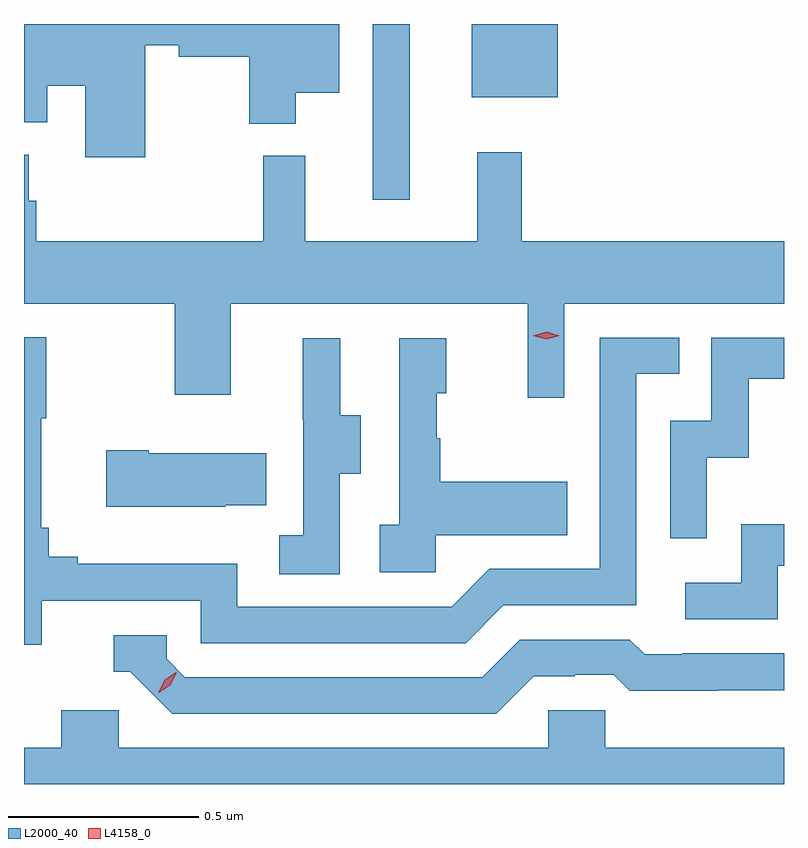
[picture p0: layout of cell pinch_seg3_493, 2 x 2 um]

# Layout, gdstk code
import gdstk
lib = gdstk.Library(unit=1e-6, precision=1e-09)
def R(c, l, rs):  # rectangles x0, y0, x1, y1
    for r in rs: c.add(gdstk.rectangle(r[:2], r[2:], *l))
def P(c, l, *ps):  # polygons
    for p in ps: c.add(gdstk.Polygon(p, *l))
L2000_40 = (2000, 40)
L4158_0 = (4158, 0)

pinch_seg3_493 = lib.new_cell('pinch_seg3_493')
R(pinch_seg3_493, L2000_40, [(999.957,675.882,1000.054,676.344), (1000.217,676.151,1000.444,676.344)])
P(pinch_seg3_493, L2000_40, [(999.358,676.288),(999.446,676.288),(999.446,676.258),(999.632,676.258),(999.632,676.082),(999.754,676.082),(999.754,676.163),(999.868,676.163),(999.868,676.344),(999.039,676.344),(999.039,676.085),(999.1,676.085),(999.1,676.181),(999.2,676.181),(999.2,675.993),(999.358,675.993)],
  [(1000.461,675.608),(1001.039,675.608),(1001.039,675.772),(1000.349,675.772),(1000.349,676.006),(1000.232,676.006),(1000.232,675.772),(999.779,675.772),(999.779,675.997),(999.669,675.997),(999.669,675.772),(999.071,675.772),(999.071,675.879),(999.052,675.879),(999.052,676),(999.039,676),(999.039,675.608),(999.436,675.608),(999.436,675.369),(999.583,675.369),(999.583,675.608),(1000.364,675.608),(1000.364,675.36),(1000.461,675.36)],
  [(999.086,674.826),(999.504,674.826),(999.504,674.715),(1000.201,674.715),(1000.3,674.814),(1000.65,674.814),(1000.65,675.423),(1000.763,675.423),(1000.763,675.519),(1000.554,675.519),(1000.554,674.91),(1000.263,674.91),(1000.164,674.811),(999.6,674.811),(999.6,674.923),(999.181,674.923),(999.181,674.942),(999.104,674.942),(999.104,675.019),(999.085,675.019),(999.085,675.307),(999.097,675.307),(999.097,675.52),(999.039,675.52),(999.039,674.71),(999.086,674.71)],
  [(1000.836,675.203),(1000.946,675.203),(1000.946,675.411),(1001.039,675.411),(1001.039,675.519),(1000.848,675.519),(1000.848,675.3),(1000.74,675.3),(1000.74,674.991),(1000.836,674.991)],
  [(1000.122,674.999),(1000.469,674.999),(1000.469,675.139),(1000.135,675.139),(1000.135,675.254),(1000.125,675.254),(1000.125,675.372),(1000.15,675.372),(1000.15,675.517),(1000.026,675.517),(1000.026,675.026),(999.975,675.026),(999.975,674.901),(1000.122,674.901)],
  [(999.87,675.16),(999.925,675.16),(999.925,675.315),(999.871,675.315),(999.871,675.517),(999.773,675.517),(999.773,675.303),(999.774,675.303),(999.774,674.999),(999.711,674.999),(999.711,674.896),(999.87,674.896)],
  [(999.569,675.077),(999.677,675.077),(999.677,675.214),(999.367,675.214),(999.367,675.222),(999.255,675.222),(999.255,675.074),(999.569,675.074)],
  [(1001.022,674.919),(1001.039,674.919),(1001.039,675.028),(1000.926,675.028),(1000.926,674.874),(1000.779,674.874),(1000.779,674.778),(1001.022,674.778)],
  [(1000.381,674.628),(1000.488,674.628),(1000.488,674.631),(1000.591,674.631),(1000.633,674.589),(1000.866,674.589),(1000.866,674.591),(1001.039,674.591),(1001.039,674.688),(1000.771,674.688),(1000.771,674.685),(1000.672,674.685),(1000.633,674.724),(1000.344,674.724),(1000.245,674.625),(999.462,674.625),(999.414,674.673),(999.414,674.736),(999.275,674.736),(999.275,674.64),(999.318,674.64),(999.429,674.529),(1000.282,674.529)],
  [(1001.039,674.44),(1000.569,674.44),(1000.569,674.538),(1000.419,674.538),(1000.419,674.44),(999.288,674.44),(999.288,674.538),(999.137,674.538),(999.137,674.44),(999.039,674.44),(999.039,674.344),(1001.039,674.344)])
P(pinch_seg3_493, L4158_0, [(1000.414,675.514),(1000.378,675.524),(1000.378,675.524),(1000.378,675.524),(1000.414,675.534),(1000.449,675.524),(1000.449,675.524),(1000.449,675.524)],
  [(999.393,674.584),(999.393,674.585),(999.409,674.618),(999.44,674.638),(999.44,674.638),(999.44,674.637),(999.424,674.604),(999.394,674.584)])

lib.write_gds('pinch_seg3_493.gds')
